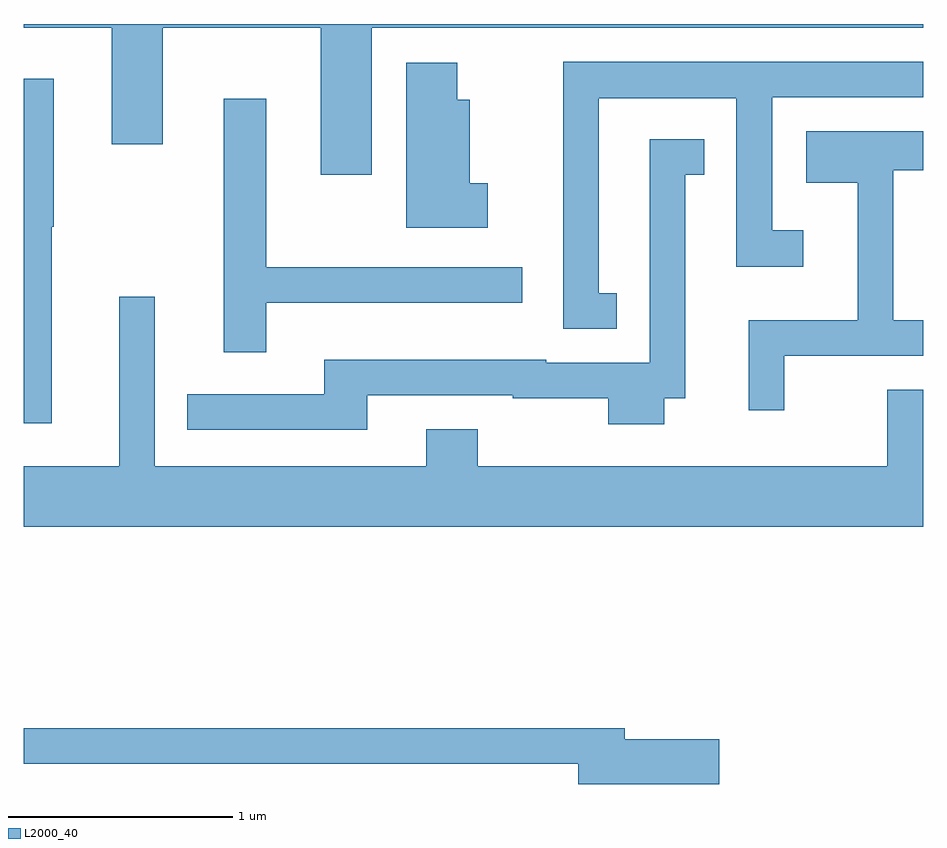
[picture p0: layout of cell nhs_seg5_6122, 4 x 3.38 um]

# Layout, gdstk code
import gdstk
lib = gdstk.Library(unit=1e-6, precision=1e-09)
def P(c, l, *ps):  # polygons
    for p in ps: c.add(gdstk.Polygon(p, *l))
L2000_40 = (2000, 40)

nhs_seg5_6122 = lib.new_cell('nhs_seg5_6122')
P(nhs_seg5_6122, L2000_40, [(365.611,1530.056),(366.001,1530.056),(366.001,1529.536),(366.229,1529.536),(366.229,1530.056),(366.931,1530.056),(366.931,1529.401),(367.159,1529.401),(367.159,1530.056),(369.611,1530.056),(369.611,1530.072),(365.611,1530.072)],
  [(368.248,1528.874),(368.169,1528.874),(368.169,1529.741),(368.781,1529.741),(368.781,1528.991),(369.078,1528.991),(369.078,1529.154),(368.939,1529.154),(368.939,1529.746),(369.611,1529.746),(369.611,1529.904),(368.011,1529.904),(368.011,1528.716),(368.248,1528.716)],
  [(367.674,1529.364),(367.594,1529.364),(367.594,1529.734),(367.539,1529.734),(367.539,1529.899),(367.311,1529.899),(367.311,1529.166),(367.674,1529.166)],
  [(365.734,1529.17),(365.744,1529.17),(365.744,1529.829),(365.611,1529.829),(365.611,1528.296),(365.734,1528.296)],
  [(366.689,1528.831),(367.828,1528.831),(367.828,1528.989),(366.689,1528.989),(366.689,1529.739),(366.501,1529.739),(366.501,1528.611),(366.689,1528.611)],
  [(368.994,1528.596),(369.611,1528.596),(369.611,1528.754),(369.479,1528.754),(369.479,1529.421),(369.611,1529.421),(369.611,1529.594),(369.091,1529.594),(369.091,1529.366),(369.321,1529.366),(369.321,1528.754),(368.836,1528.754),(368.836,1528.353),(368.994,1528.353)],
  [(367.139,1528.421),(367.785,1528.421),(367.785,1528.406),(368.211,1528.406),(368.211,1528.291),(368.459,1528.291),(368.459,1528.406),(368.554,1528.406),(368.554,1529.401),(368.638,1529.401),(368.638,1529.559),(368.396,1529.559),(368.396,1528.564),(367.935,1528.564),(367.935,1528.579),(366.946,1528.579),(366.946,1528.424),(366.338,1528.424),(366.338,1528.266),(367.139,1528.266)],
  [(369.611,1528.444),(369.451,1528.444),(369.451,1528.104),(367.629,1528.104),(367.629,1528.269),(367.401,1528.269),(367.401,1528.104),(366.194,1528.104),(366.194,1528.858),(366.036,1528.858),(366.036,1528.104),(365.611,1528.104),(365.611,1527.836),(369.611,1527.836)],
  [(368.704,1526.889),(368.284,1526.889),(368.284,1526.939),(365.611,1526.939),(365.611,1526.781),(368.076,1526.781),(368.076,1526.691),(368.704,1526.691)])

lib.write_gds('nhs_seg5_6122.gds')
